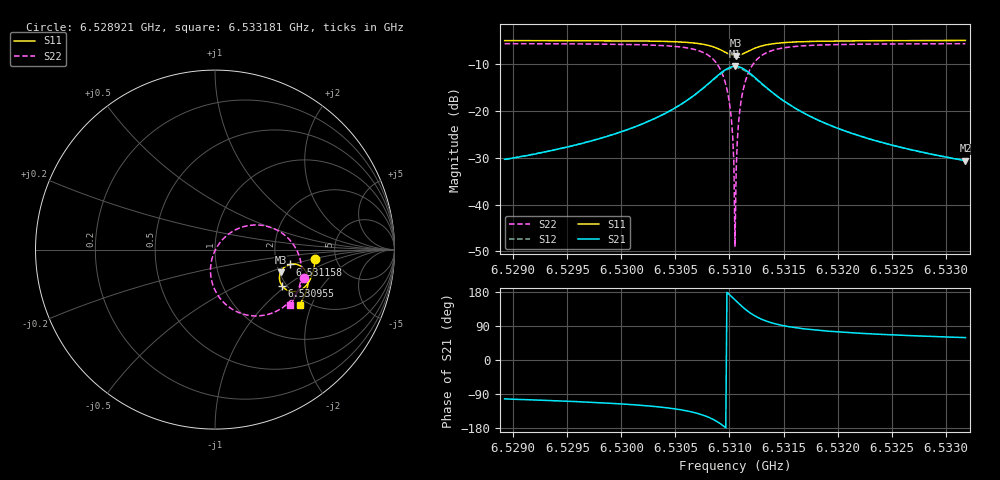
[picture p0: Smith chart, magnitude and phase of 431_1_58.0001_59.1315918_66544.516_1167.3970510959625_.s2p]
#  HZ  S  RI  R  50.00
! Rohde & Schwarz Vector Network Analyzer
! Rohde-Schwarz,ZNB20-2Port,1311601062101988,3.16
! Created: UTC 3/21/2024, 1:09:39 AM
! freq[Hz]  re:S11  im:S11  re:S21  im:S21  re:S12  im:S12  re:S22  im:S22
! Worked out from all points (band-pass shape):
!   401 points, 6.528921 GHz to 6.533181 GHz, reference 50 ohm
!   highest |S21| = -10.51 dB at 6.531051 GHz (marker M1); lowest = -30.6 dB at 6.533181 GHz (marker M2)
!   |S21| within 3 dB of the highest: 6.530839 GHz to 6.531266 GHz (426.4 kHz wide, 0.00653 % of centre)
!   lowest |S11| = -8.3 dB at 6.531062 GHz (marker M3), VSWR 2.26, Z = 101 - j30.3 ohm
!   |S11| at or under -10 dB: nowhere
!   |S22| runs from -48.9 to -5.7 dB; largest |S21 - S12| = 0.011
!   S11 on the Smith chart (normalised r, x): 6.528921 GHz: 3.46, -0.56; 6.530955 GHz: 1.89, -0.93; 6.531158 GHz: 2.36, -0.48; 6.533181 GHz: 1.82, -1.65
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6.5289207e9  0.5583 -0.0551  -0.00664 -0.0297  -0.00721 -0.0295  0.4957 -0.158
6.5296343e9  0.5484 -0.114  -0.0157 -0.042  -0.0167 -0.0418  0.4661 -0.2239
6.530348e9  0.5206 -0.1838  -0.0484 -0.0723  -0.0504 -0.0709  0.3872 -0.3157
6.5307741e9  0.4514 -0.2331  -0.153 -0.098  -0.1553 -0.0919  0.1859 -0.366
6.5308806e9  0.4078 -0.2283  -0.2207 -0.0727  -0.2201 -0.0637  0.0701 -0.314
6.5309551e9  0.374 -0.2021  -0.2706 -0.0162  -0.2656 -0.00674  -0.00683 -0.211
6.5309871e9  0.3636 -0.1826  -0.2844 0.0212  -0.2768 0.0296  -0.0234 -0.1464
6.5310084e9  0.3598 -0.1674  -0.2877 0.0495  -0.2788 0.0567  -0.0247 -0.0989
6.5310191e9  0.3591 -0.1593  -0.2874 0.0643  -0.2781 0.0705  -0.0217 -0.0745
6.5310297e9  0.3594 -0.1511  -0.2857 0.0793  -0.2759 0.0847  -0.0168 -0.0504
6.5310404e9  0.3603 -0.143  -0.2825 0.0939  -0.2723 0.0985  -0.00903 -0.0266
6.531051e9  0.3623 -0.1349  -0.2777 0.1086  -0.2675 0.1119  0.00111 -0.00342
6.5310617e9  0.365 -0.127  -0.2715 0.1223  -0.2613 0.125  0.0133 0.0184
6.5310723e9  0.3687 -0.1195  -0.264 0.1357  -0.254 0.1373  0.0277 0.0391
6.531083e9  0.373 -0.1125  -0.2555 0.1479  -0.2455 0.1488  0.0438 0.0579
6.5311043e9  0.3836 -0.1004  -0.2353 0.1692  -0.2261 0.1686  0.0803 0.0899
6.5311575e9  0.4158 -0.0828  -0.1768 0.2011  -0.1702 0.1981  0.1823 0.1332
6.5312321e9  0.4575 -0.0831  -0.1032 0.2035  -0.0998 0.2006  0.3063 0.1252
6.5313386e9  0.4938 -0.1051  -0.0399 0.1737  -0.0383 0.172  0.4101 0.0606
6.5317647e9  0.5185 -0.1846  0.015 0.0839  0.016 0.0837  0.483 -0.128
6.5324783e9  0.4988 -0.256  0.0172 0.0402  0.0179 0.04  0.4555 -0.2444
6.5331814e9  0.4714 -0.308  0.0151 0.0252  0.0156 0.0248  0.4205 -0.306
